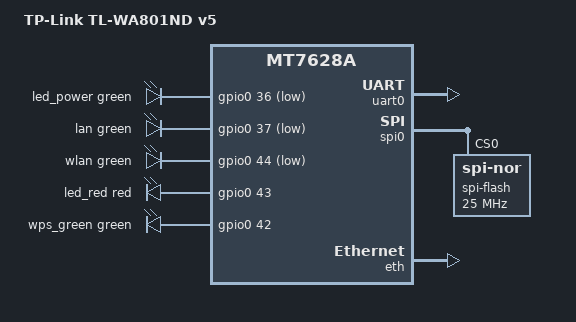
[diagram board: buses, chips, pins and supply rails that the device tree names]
// SPDX-License-Identifier: GPL-2.0
/*
 * Copyright (C) 2024
 *
 * TP-Link TL-WA801ND v5 board DTS
 * MT7628AN SoC, single internal PHY (port 0), 4MB NOR flash
 */

/dts-v1/;

#include "mt7628a.dtsi"
#include <dt-bindings/gpio/gpio.h>
#include <dt-bindings/leds/common.h>

/ {
	compatible = "tplink,tl-wa801nd-v5", "ralink,mt7628a-soc";
	model = "TP-Link TL-WA801ND v5";

	aliases {
		serial0 = &uart0;
		spi0 = &spi0;
		led-boot = &led_red;
	};

	chosen {
		stdout-path = &uart0;
	};

	leds {
		compatible = "gpio-leds";

		led_power: power {
			function = LED_FUNCTION_POWER;
			color = <LED_COLOR_ID_GREEN>;
			gpios = <&gpio0 36 GPIO_ACTIVE_LOW>;
			default-state = "off";
		};

		lan {
			function = LED_FUNCTION_LAN;
			color = <LED_COLOR_ID_GREEN>;
			gpios = <&gpio0 37 GPIO_ACTIVE_LOW>;
			default-state = "off";
		};

		wlan {
			function = LED_FUNCTION_WLAN;
			color = <LED_COLOR_ID_GREEN>;
			gpios = <&gpio0 44 GPIO_ACTIVE_LOW>;
			default-state = "off";
		};

		led_red: wps_red {
			function = LED_FUNCTION_STATUS;
			color = <LED_COLOR_ID_RED>;
			gpios = <&gpio0 43 GPIO_ACTIVE_HIGH>;
			default-state = "on";   /* red stays on in U-Boot */
		};

		wps_green {
			function = LED_FUNCTION_WPS;
			color = <LED_COLOR_ID_GREEN>;
			gpios = <&gpio0 42 GPIO_ACTIVE_HIGH>;
			default-state = "off";
		};
	};
};

&uart0 {
	status = "okay";
};

&spi0 {
	status = "okay";
	num-cs = <1>;

	spi-flash@0 {
		#address-cells = <1>;
		#size-cells = <1>;
		compatible = "jedec,spi-nor";
		spi-max-frequency = <25000000>;
		reg = <0>;
	};
};

&eth {
	status = "okay";
	pinctrl-names = "default";
	pinctrl-0 = <&ephy_iot_mode>;
	mediatek,poll-link-phy = <0>;
};
